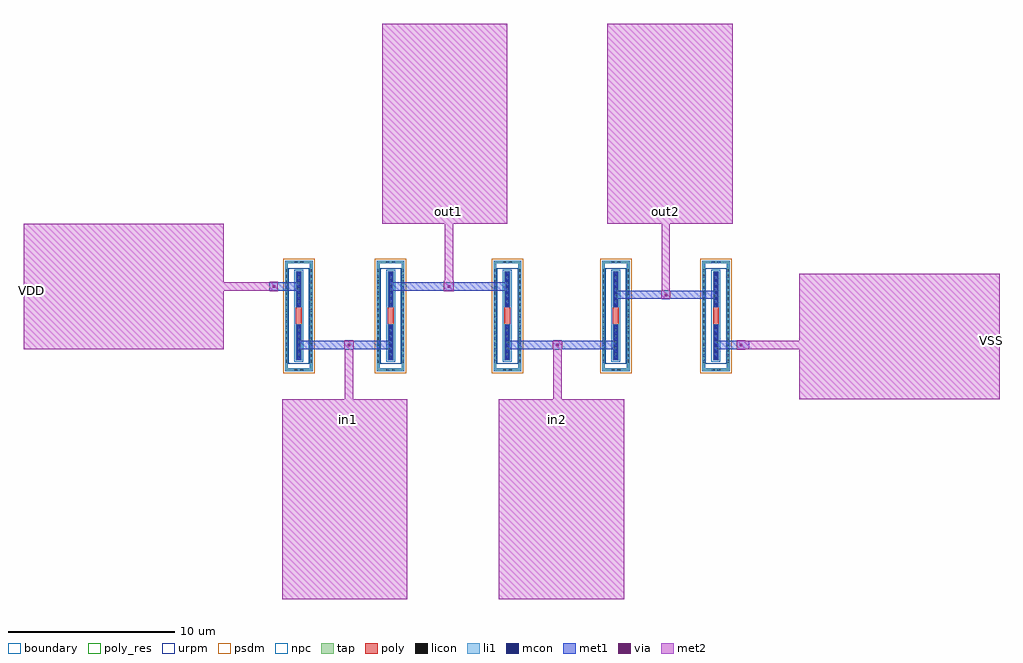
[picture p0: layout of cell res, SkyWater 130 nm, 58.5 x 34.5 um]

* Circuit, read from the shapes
.subckt res VDD VSS in1 in2 out1 out2
XR1 VDD in1 VSUBS sky130_fd_pr__res_xhigh_po w=0.35 l=1
XR2 out1 in1 VSUBS sky130_fd_pr__res_xhigh_po w=0.35 l=1
XR3 out1 in2 VSUBS sky130_fd_pr__res_xhigh_po w=0.35 l=1
XR4 out2 in2 VSUBS sky130_fd_pr__res_xhigh_po w=0.35 l=1
XR5 out2 VSS VSUBS sky130_fd_pr__res_xhigh_po w=0.35 l=1
.ends

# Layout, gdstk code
import gdstk
lib = gdstk.Library(unit=1e-6, precision=1e-09)
def R(c, l, rs):  # rectangles x0, y0, x1, y1
    for r in rs: c.add(gdstk.rectangle(r[:2], r[2:], *l))
def A(c, l, x, y, w, h, nx, ny, dx, dy):  # array of equal rectangles
    R(c, l, [(x+i*dx, y+j*dy, x+i*dx+w, y+j*dy+h) for i in range(nx) for j in range(ny)])
tap = (65, 44)
poly_res = (66, 13)
poly = (66, 20)
licon = (66, 44)
li1 = (67, 20)
mcon = (67, 44)
met1 = (68, 20)
via = (68, 44)
met2 = (69, 20)
urpm = (79, 20)
psdm = (94, 20)
npc = (95, 20)
boundary = (235, 4)

sky130_fd_pr__res_xhigh_ = lib.new_cell('sky130_fd_pr__res_xhigh_po_0p35_R8G9WK')
R(sky130_fd_pr__res_xhigh_, tap, [(-0.825,-3.31,0.825,-3.14), (-0.825,-3.14,-0.655,3.14), (0.655,-3.14,0.825,3.14), (-0.825,3.14,0.825,3.31)])
R(sky130_fd_pr__res_xhigh_, poly_res, [(-0.175,-0.56,0.175,0.56)])
R(sky130_fd_pr__res_xhigh_, poly, [(-0.175,-2.66,0.175,2.66)])
A(sky130_fd_pr__res_xhigh_, licon, -0.825, -2.805, 0.17, 0.17, 1, 17, 0, 0.34)
A(sky130_fd_pr__res_xhigh_, licon, 0.655, -2.805, 0.17, 0.17, 1, 17, 0, 0.34)
R(sky130_fd_pr__res_xhigh_, licon, [(-0.255,-3.31,-0.085,-3.14), (0.085,-3.31,0.255,-3.14), (-0.095,-2.58,0.095,-0.58), (-0.095,0.58,0.095,2.58), (-0.255,3.14,-0.085,3.31), (0.085,3.14,0.255,3.31)])
R(sky130_fd_pr__res_xhigh_, li1, [(-0.825,-3.31,0.825,-3.14), (-0.825,-3.14,-0.655,3.14), (0.655,-3.14,0.825,3.14), (-0.175,-2.66,0.175,-0.5), (-0.175,0.5,0.175,2.66), (-0.825,3.14,0.825,3.31)])
A(sky130_fd_pr__res_xhigh_, mcon, -0.085, -2.565, 0.17, 0.17, 1, 6, 0, 0.36)
A(sky130_fd_pr__res_xhigh_, mcon, -0.085, 0.59, 0.17, 0.17, 1, 6, 0, 0.36)
R(sky130_fd_pr__res_xhigh_, met1, [(-0.125,-2.63,0.125,-0.525), (-0.125,0.525,0.125,2.63)])
R(sky130_fd_pr__res_xhigh_, urpm, [(-0.635,-2.86,0.635,2.86)])
R(sky130_fd_pr__res_xhigh_, psdm, [(-0.95,-3.435,0.95,3.435)])
R(sky130_fd_pr__res_xhigh_, npc, [(-0.27,-2.755,0.27,2.755)])
R(sky130_fd_pr__res_xhigh_, boundary, [(-0.74,-3.225,0.74,3.225)])

res = lib.new_cell('res')
R(res, met1, [(1.75,0.97,2.25,1), (14.25,0.97,14.75,1), (-1,1,4.5,1.5), (11.5,1,18,1.5), (24,1,26,1.5), (1.75,1.5,2.25,1.53), (14.25,1.5,14.75,1.53), (20.75,3.97,21.25,4), (18,4,24,4.5), (-2.78,4.5,-1,5), (4.5,4.5,11.5,5), (20.75,4.5,21.25,4.53)])
R(res, via, [(1.925,1.175,2.075,1.325), (14.425,1.175,14.575,1.325), (25.425,1.175,25.575,1.325), (20.925,4.175,21.075,4.325), (-2.575,4.675,-2.425,4.825), (7.925,4.675,8.075,4.825)])
R(res, met2, [(-2,-14,5.5,-2), (11,-14,18.5,-2), (1.75,-2,2.25,1), (14.25,-2,14.75,1), (29,-2,41,1), (25.25,0.97,25.75,1), (-17.5,1,-5.5,4.5), (1.72,1,2.28,1.5), (14.22,1,14.78,1.5), (25.25,1,41,1.5), (25.25,1.5,25.75,1.53), (29,1.5,41,5.5), (20.72,4,21.28,4.5), (7.7,4.45,8.3,5.1), (-2.75,4.47,-2.25,4.5), (-17.5,4.5,-2.25,5), (20.75,4.5,21.25,8.5), (-17.5,5,-5.5,8.5), (-2.75,5,-2.25,5.03), (7.75,5.1,8.25,8.5), (4,8.5,11.5,20.5), (17.5,8.5,25,20.5)])
res.add(gdstk.Reference(sky130_fd_pr__res_xhigh_, (24.005,2.99)))
res.add(gdstk.Reference(sky130_fd_pr__res_xhigh_, (18.005,2.99)))
res.add(gdstk.Reference(sky130_fd_pr__res_xhigh_, (11.505,2.99)))
res.add(gdstk.Reference(sky130_fd_pr__res_xhigh_, (4.505,2.99)))
res.add(gdstk.Reference(sky130_fd_pr__res_xhigh_, (-0.995,2.99)))
res.add(gdstk.Label('in1', (2,-3.25), layer=69, texttype=16))
res.add(gdstk.Label('in2', (14.5,-3.25), layer=69, texttype=16))
res.add(gdstk.Label('out1', (8,9.25), layer=69, texttype=16))
res.add(gdstk.Label('out2', (21,9.25), layer=69, texttype=16))
res.add(gdstk.Label('VDD', (-17,4.5), layer=69, texttype=16))
res.add(gdstk.Label('VSS', (40.5,1.5), layer=69, texttype=16))

lib.write_gds('res.gds')
